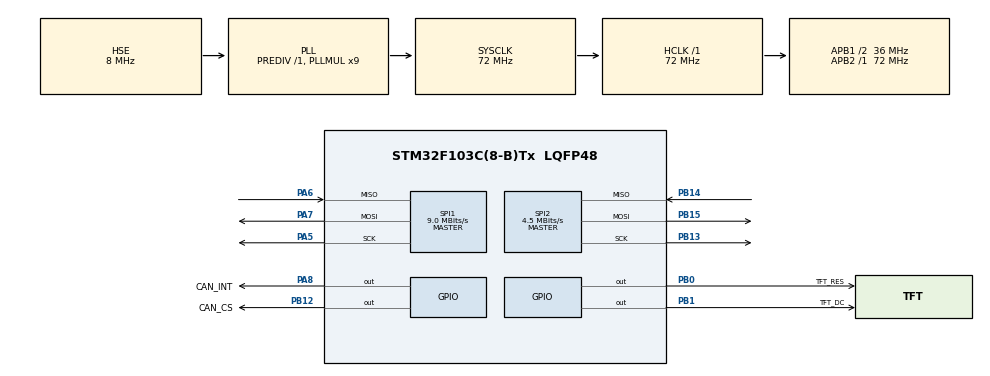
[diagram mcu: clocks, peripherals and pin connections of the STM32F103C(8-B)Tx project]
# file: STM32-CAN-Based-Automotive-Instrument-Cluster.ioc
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Mcu.Family=STM32F1
Mcu.Name=STM32F103C(8-B)Tx
Mcu.Package=LQFP48
NVIC.PriorityGroup=NVIC_PRIORITYGROUP_4
PA13.Mode=Serial_Wire
PA13.Signal=SYS_JTMS-SWDIO
PA14.Mode=Serial_Wire
PA14.Signal=SYS_JTCK-SWCLK
PA5.Mode=Full_Duplex_Master
PA5.Signal=SPI1_SCK
PA6.Mode=Full_Duplex_Master
PA6.Signal=SPI1_MISO
PA7.Mode=Full_Duplex_Master
PA7.Signal=SPI1_MOSI
PA8.GPIO_Label=CAN_INT
PA8.GPIO_PuPd=GPIO_PULLUP
PA8.Signal=GPIO_Output
PB0.GPIO_Label=TFT_RES
PB0.PinState=GPIO_PIN_SET
PB0.Signal=GPIO_Output
PB1.GPIO_Label=TFT_DC
PB1.PinState=GPIO_PIN_SET
PB1.Signal=GPIO_Output
PB12.GPIO_Label=CAN_CS
PB12.PinState=GPIO_PIN_SET
PB12.Signal=GPIO_Output
PB13.Mode=Full_Duplex_Master
PB13.Signal=SPI2_SCK
PB14.Mode=Full_Duplex_Master
PB14.Signal=SPI2_MISO
PB15.Mode=Full_Duplex_Master
PB15.Signal=SPI2_MOSI
PD0-OSC_IN.Mode=HSE-External-Oscillator
PD0-OSC_IN.Signal=RCC_OSC_IN
PD1-OSC_OUT.Mode=HSE-External-Oscillator
PD1-OSC_OUT.Signal=RCC_OSC_OUT
ProjectManager.HeapSize=0x200
ProjectManager.StackSize=0x400
ProjectManager.TargetToolchain=STM32CubeIDE
RCC.AHBFreq_Value=72000000
RCC.APB1CLKDivider=RCC_HCLK_DIV2
RCC.APB1Freq_Value=36000000
RCC.APB1TimFreq_Value=72000000
RCC.APB2Freq_Value=72000000
RCC.APB2TimFreq_Value=72000000
RCC.HCLKFreq_Value=72000000
RCC.PLLMUL=RCC_PLL_MUL9
RCC.PLLSourceVirtual=RCC_PLLSOURCE_HSE
RCC.SYSCLKFreq_VALUE=72000000
RCC.SYSCLKSource=RCC_SYSCLKSOURCE_PLLCLK
RCC.USBFreq_Value=72000000
SPI1.BaudRatePrescaler=SPI_BAUDRATEPRESCALER_8
SPI1.CLKPhase=SPI_PHASE_2EDGE
SPI1.CLKPolarity=SPI_POLARITY_HIGH
SPI1.CalculateBaudRate=9.0 MBits/s
SPI1.Direction=SPI_DIRECTION_2LINES
SPI1.Mode=SPI_MODE_MASTER
SPI1.VirtualType=VM_MASTER
SPI2.BaudRatePrescaler=SPI_BAUDRATEPRESCALER_8
SPI2.CLKPhase=SPI_PHASE_1EDGE
SPI2.CLKPolarity=SPI_POLARITY_LOW
SPI2.CalculateBaudRate=4.5 MBits/s
SPI2.Direction=SPI_DIRECTION_2LINES
SPI2.Mode=SPI_MODE_MASTER
SPI2.VirtualType=VM_MASTER
board=custom

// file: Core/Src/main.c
/* USER CODE BEGIN Header */
/**
  ******************************************************************************
  * @file           : main.c
  * @brief          : Main program body
  ******************************************************************************
  * @attention
  *
  * Copyright (c) 2026 STMicroelectronics.
  * All rights reserved.
  *
  * This software is licensed under terms that can be found in the LICENSE file
  * in the root directory of this software component.
  * If no LICENSE file comes with this software, it is provided AS-IS.
  *
  ******************************************************************************
  */
/* USER CODE END Header */
#include "main.h"
#include "spi.h"
#include "gpio.h"

/* USER CODE BEGIN Includes */
#include "st7789.h"
#include "mcp2515.h"
/* USER CODE END Includes */

/* USER CODE BEGIN PV */
typedef enum { PAGE_PARK, PAGE_TEMPHUMI , PAGE_SPEED } DisplayPage_t;

volatile uint16_t g_distance_cm = 999;   // mặc định xa, chưa có dữ liệu
volatile uint16_t g_speed = 0;
volatile int8_t   g_temp = 0;
volatile uint8_t  g_humi = 0;

DisplayPage_t g_currentPage = PAGE_TEMPHUMI;
DisplayPage_t g_lastPage = PAGE_TEMPHUMI;

#define DISTANCE_THRESHOLD_CM   100
/* USER CODE END PV */

void SystemClock_Config(void);

int main(void)
{

  /* MCU Configuration--------------------------------------------------------*/

  /* Reset of all peripherals, Initializes the Flash interface and the Systick. */
  HAL_Init();

  /* Configure the system clock */
  SystemClock_Config();

  /* Initialize all configured peripherals */
  MX_GPIO_Init();
  MX_SPI1_Init();
  MX_SPI2_Init();
  /* USER CODE BEGIN 2 */

  ST7789_Init();
  ST7789_Init();
  ST7789_FillScreen(ST7789_BLACK);

  __HAL_RCC_GPIOC_CLK_ENABLE();
  GPIO_InitTypeDef gpioLed = {0};
  gpioLed.Pin = GPIO_PIN_13;
  gpioLed.Mode = GPIO_MODE_OUTPUT_PP;
  gpioLed.Pull = GPIO_NOPULL;
  gpioLed.Speed = GPIO_SPEED_FREQ_LOW;
  HAL_GPIO_Init(GPIOC, &gpioLed);

  MCP2515_t canDev;
  canDev.hspi = &hspi2;
  canDev.cs_port = CAN_CS_GPIO_Port;
  canDev.cs_pin = CAN_CS_Pin;
  MCP2515_Init(&canDev);
  CAN_Frame_t rxFrame;

  ST7789_DrawDashboard(g_speed, g_distance_cm, g_temp, g_humi);
  /* USER CODE END 2 */

  /* Infinite loop */
  /* USER CODE BEGIN WHILE */
  uint32_t lastDrawTime = 0;
  while (1)
  {
    /* USER CODE END WHILE */

    /* USER CODE BEGIN 3 */

	  if (MCP2515_ReceiveFrame(&canDev, &rxFrame))
	  {
	      switch (rxFrame.id)
	      {
	          case 0x100: g_speed = (rxFrame.data[0] << 8) | rxFrame.data[1]; break;
	          case 0x101: g_distance_cm = (rxFrame.data[0] << 8) | rxFrame.data[1];
	          	  	  	  HAL_GPIO_TogglePin(GPIOC, GPIO_PIN_13);

	          	  	  	  break;
	          case 0x102:
	              g_temp = (int8_t)rxFrame.data[0];
	              g_humi = rxFrame.data[1];
	              break;
	      }
	  }
	  // Vẽ định kỳ, tách riêng khỏi việc nhận
	     if (HAL_GetTick() - lastDrawTime >= 100)
	     {
	         lastDrawTime = HAL_GetTick();
	         ST7789_UpdateDashboardValues(g_speed, g_distance_cm, g_temp, g_humi);

	     }
  }
  /* USER CODE END 3 */
}

void SystemClock_Config(void)
{
  RCC_OscInitTypeDef RCC_OscInitStruct = {0};
  RCC_ClkInitTypeDef RCC_ClkInitStruct = {0};

  /** Initializes the RCC Oscillators according to the specified parameters
  * in the RCC_OscInitTypeDef structure.
  */
  RCC_OscInitStruct.OscillatorType = RCC_OSCILLATORTYPE_HSE;
  RCC_OscInitStruct.HSEState = RCC_HSE_ON;
  RCC_OscInitStruct.HSEPredivValue = RCC_HSE_PREDIV_DIV1;
  RCC_OscInitStruct.HSIState = RCC_HSI_ON;
  RCC_OscInitStruct.PLL.PLLState = RCC_PLL_ON;
  RCC_OscInitStruct.PLL.PLLSource = RCC_PLLSOURCE_HSE;
  RCC_OscInitStruct.PLL.PLLMUL = RCC_PLL_MUL9;
  if (HAL_RCC_OscConfig(&RCC_OscInitStruct) != HAL_OK)
  {
    Error_Handler();
  }

  /** Initializes the CPU, AHB and APB buses clocks
  */
  RCC_ClkInitStruct.ClockType = RCC_CLOCKTYPE_HCLK|RCC_CLOCKTYPE_SYSCLK
                              |RCC_CLOCKTYPE_PCLK1|RCC_CLOCKTYPE_PCLK2;
  RCC_ClkInitStruct.SYSCLKSource = RCC_SYSCLKSOURCE_PLLCLK;
  RCC_ClkInitStruct.AHBCLKDivider = RCC_SYSCLK_DIV1;
  RCC_ClkInitStruct.APB1CLKDivider = RCC_HCLK_DIV2;
  RCC_ClkInitStruct.APB2CLKDivider = RCC_HCLK_DIV1;

  if (HAL_RCC_ClockConfig(&RCC_ClkInitStruct, FLASH_LATENCY_2) != HAL_OK)
  {
    Error_Handler();
  }
}

void Error_Handler(void)
{
  __disable_irq();
  while (1)
  {
  }
}
